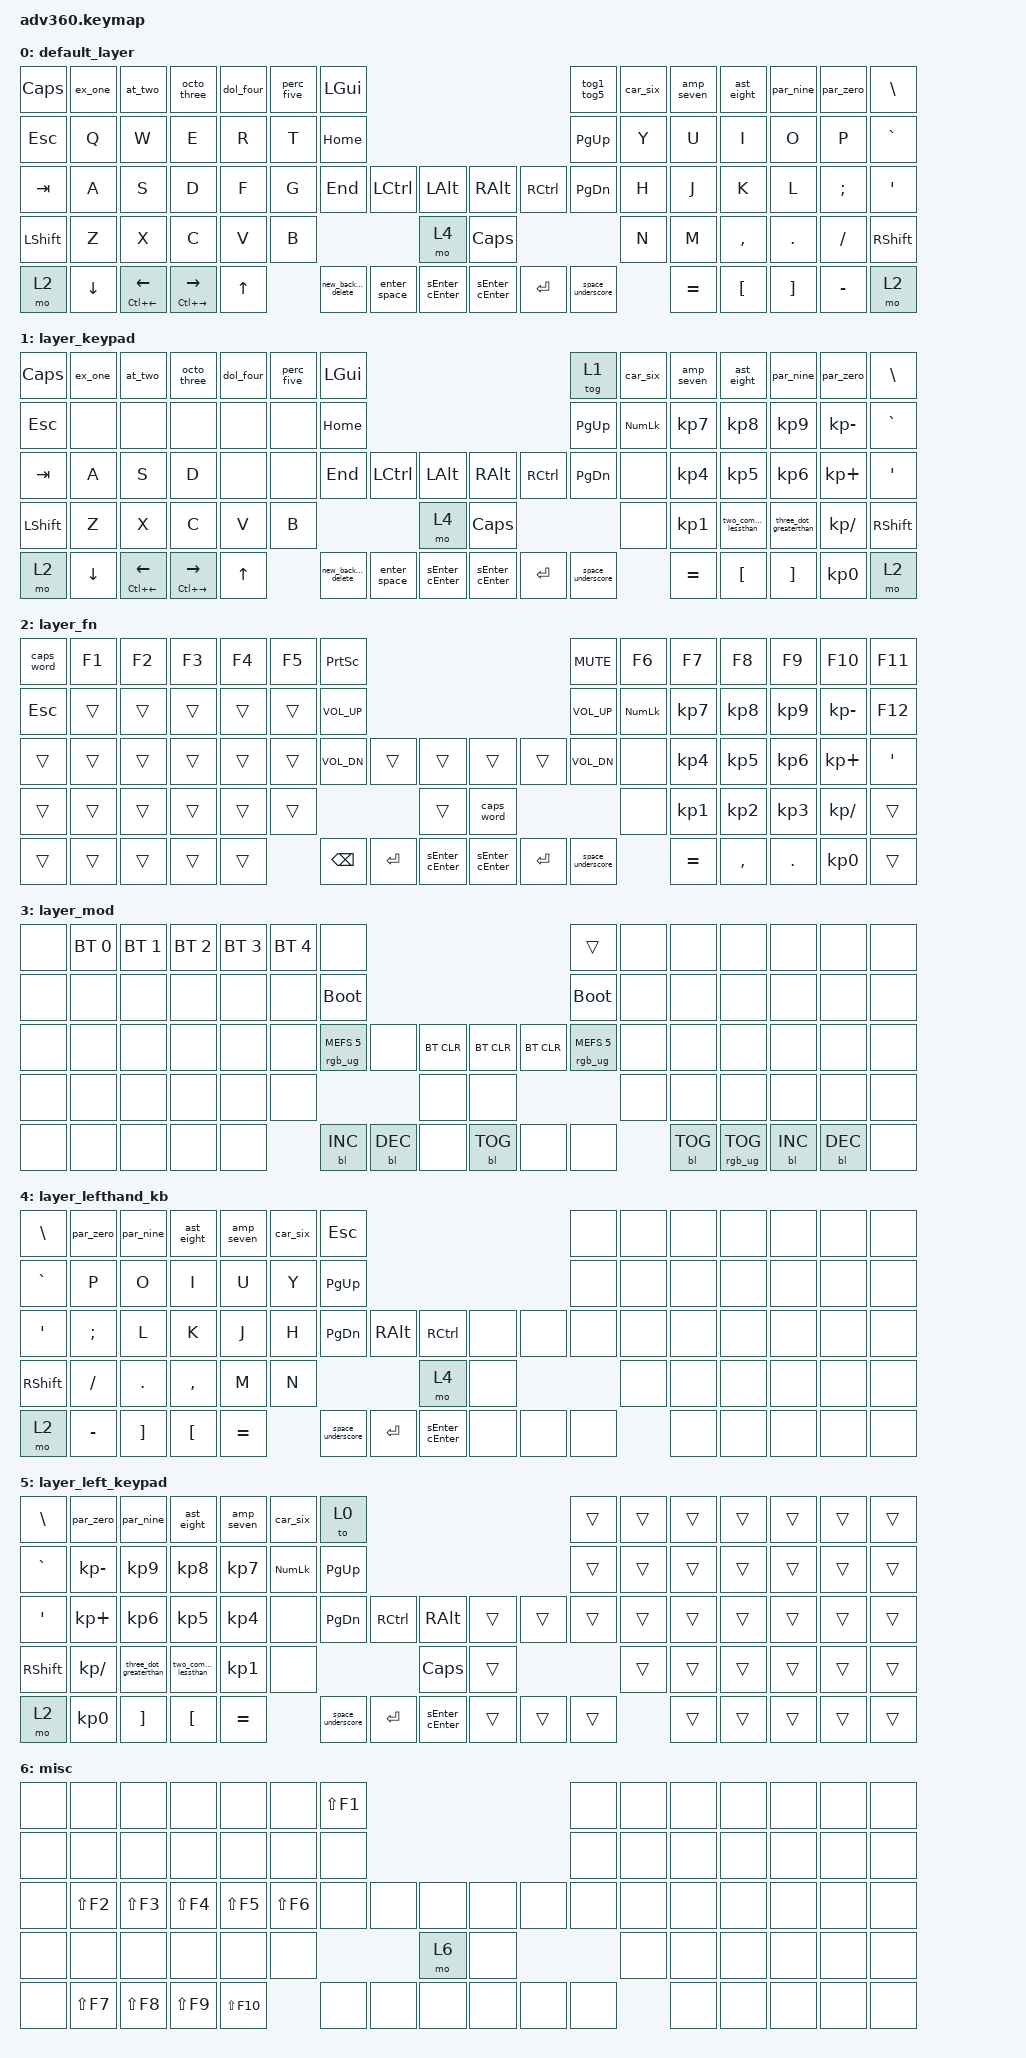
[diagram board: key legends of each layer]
/*
 * Copyright (c) 2020 The ZMK Contributors
 *
 * SPDX-License-Identifier: MIT
 */
/* THIS FILE WAS GENERATED!
 *
 * This file was generated automatically. You may or may not want to
 * edit it directly.
 */

#include <behaviors.dtsi>
#include <dt-bindings/zmk/backlight.h>
#include <dt-bindings/zmk/bt.h>
#include <dt-bindings/zmk/keys.h>
#include <dt-bindings/zmk/rgb.h>

/ {
    behaviors {
        #include "macros.dtsi"

        hm: homerow_mods {
            compatible = "zmk,behavior-hold-tap";
            label = "HOMEROW_MODS";
            #binding-cells = <2>;
            tapping-term-ms = <200>;
            quick_tap_ms = <175>;
            flavor = "tap-preferred";
            bindings = <&kp>, <&kp>;
        };
        par_nine: par_nine {
            compatible = "zmk,behavior-mod-morph";
            label = "PAR_NINE";
            bindings = <&kp LEFT_PARENTHESIS>, <&kp N9>;

            #binding-cells = <0>;
            mods = <(MOD_LSFT|MOD_RSFT)>;
        };
        ex_one: ex_one {
            compatible = "zmk,behavior-mod-morph";
            label = "EX_ONE";
            bindings = <&kp EXCLAMATION>, <&kp KP_NUMBER_1>;

            #binding-cells = <0>;
            mods = <(MOD_LSFT|MOD_RSFT)>;
        };
        at_two: at_two {
            compatible = "zmk,behavior-mod-morph";
            label = "AT_TWO";
            bindings = <&kp AT_SIGN>, <&kp KP_NUMBER_2>;

            #binding-cells = <0>;
            mods = <(MOD_LSFT|MOD_RSFT)>;
        };
        octo_three: octo_three {
            compatible = "zmk,behavior-mod-morph";
            label = "OCTO_THREE";
            bindings = <&kp HASH>, <&kp KP_NUMBER_3>;

            #binding-cells = <0>;
            mods = <(MOD_LSFT|MOD_RSFT)>;
        };
        perc_five: perc_five {
            compatible = "zmk,behavior-mod-morph";
            label = "PERC_FIVE";
            bindings = <&kp PRCNT>, <&kp KP_NUMBER_5>;

            #binding-cells = <0>;
            mods = <(MOD_LSFT|MOD_RSFT)>;
        };
        car_six: car_six {
            compatible = "zmk,behavior-mod-morph";
            label = "CAR_SIX";
            bindings = <&kp CARET>, <&kp KP_NUMBER_6>;

            #binding-cells = <0>;
            mods = <(MOD_LSFT|MOD_RSFT)>;
        };
        amp_seven: amp_seven {
            compatible = "zmk,behavior-mod-morph";
            label = "AMP_SEVEN";
            bindings = <&kp AMPS>, <&kp KP_NUMBER_7>;

            #binding-cells = <0>;
            mods = <(MOD_LSFT|MOD_RSFT)>;
        };
        ast_eight: ast_eight {
            compatible = "zmk,behavior-mod-morph";
            label = "AST_EIGHT";
            bindings = <&kp ASTERISK>, <&kp KP_NUMBER_8>;

            #binding-cells = <0>;
            mods = <(MOD_LSFT|MOD_RSFT)>;
        };
        par_zero: par_zero {
            compatible = "zmk,behavior-mod-morph";
            label = "PAR_ZERO";
            bindings = <&kp RPAR>, <&kp KP_NUMBER_0>;

            #binding-cells = <0>;
            mods = <(MOD_LSFT|MOD_RSFT)>;
        };
        dol_four: dol_four {
            compatible = "zmk,behavior-mod-morph";
            label = "DOL_FOUR";
            bindings = <&kp DLLR>, <&kp KP_NUMBER_4>;

            #binding-cells = <0>;
            mods = <(MOD_LSFT|MOD_RSFT)>;
        };
        under_minus: under_minus {
            compatible = "zmk,behavior-mod-morph";
            label = "UNDER_MINUS";
            bindings = <&kp UNDERSCORE>, <&kp MINUS>;

            #binding-cells = <0>;
            mods = <(MOD_LSFT|MOD_RSFT)>;
        };
        backspace_delete: backspace_delete {
            compatible = "zmk,behavior-mod-morph";
            label = "BACKSPACE_DELETE";
            bindings = <&kp BACKSPACE>, <&kp DELETE>;

            #binding-cells = <0>;
            mods = <(MOD_LSFT|MOD_RSFT)>;
        };
        enter_space: enter_space {
            compatible = "zmk,behavior-mod-morph";
            label = "ENTER_SPACE";
            bindings = <&kp KP_ENTER>, <&kp SPACE>;

            #binding-cells = <0>;
            mods = <(MOD_LSFT|MOD_RSFT)>;
        };
        sEnter_cEnter: sEnter_cEnter {
            compatible = "zmk,behavior-mod-morph";
            label = "SENTER_CENTER";
            bindings = <&kp LS(KP_ENTER)>, <&kp LC(KP_ENTER)>;

            #binding-cells = <0>;
            mods = <(MOD_LSFT|MOD_RSFT)>;
        };
        new_backspace_delete: new_backspace_delete {
            compatible = "zmk,behavior-mod-morph";
            label = "NEW_BACKSPACE_DELETE";
            bindings = <&hm LC(BACKSPACE) BACKSPACE>, <&hm LC(DELETE) DELETE>;

            #binding-cells = <0>;
            mods = <(MOD_LSFT|MOD_RSFT)>;
        };
        two_comma: two_comma {
            compatible = "zmk,behavior-mod-morph";
            label = "TWO_COMMA";
            bindings = <&kp KP_NUMBER_2>, <&kp COMMA>;

            #binding-cells = <0>;
            mods = <(MOD_LSFT|MOD_RSFT)>;
        };
        two_comma_lessthan: two_comma_lessthan {
            compatible = "zmk,behavior-mod-morph";
            label = "TWO_COMMA_LESSTHAN";
            bindings = <&two_comma>, <&kp LESS_THAN>;

            #binding-cells = <0>;
            mods = <(MOD_LCTL|MOD_RCTL)>;
        };
        three_dot: three_dot {
            compatible = "zmk,behavior-mod-morph";
            label = "THREE_DOT";
            bindings = <&kp KP_NUMBER_3>, <&kp DOT>;

            #binding-cells = <0>;
            mods = <(MOD_LSFT|MOD_RSFT)>;
        };
        three_dot_greaterthan: three_dot_greaterthan {
            compatible = "zmk,behavior-mod-morph";
            label = "THREE_DOT_GREATERTHAN";
            bindings = <&three_dot>, <&kp GREATER_THAN>;

            #binding-cells = <0>;
            mods = <(MOD_LCTL|MOD_RCTL)>;
        };
        zero_under: zero_under {
            compatible = "zmk,behavior-mod-morph";
            label = "ZERO_UNDER";
            bindings = <&kp KP_NUMBER_0>, <&kp UNDER>;

            #binding-cells = <0>;
            mods = <(MOD_LSFT|MOD_RSFT)>;
        };
        zero_under_minus: zero_under_minus {
            compatible = "zmk,behavior-mod-morph";
            label = "ZERO_UNDER_MINUS";
            bindings = <&zero_under>, <&kp MINUS>;

            #binding-cells = <0>;
            mods = <(MOD_LCTL|MOD_RCTL)>;
        };
        tog1_tog5: tog1_tog5 {
            compatible = "zmk,behavior-mod-morph";
            label = "TOG1_TOG5";
            bindings = <&to 1>, <&to 5>;

            #binding-cells = <0>;
            mods = <(MOD_LCTL|MOD_RCTL)>;
        };
        space_underscore: space_underscore {
            compatible = "zmk,behavior-mod-morph";
            label = "SPACE_UNDERSCORE";
            bindings = <&kp SPACE>, <&kp UNDER>;

            #binding-cells = <0>;
            mods = <(MOD_LSFT|MOD_RSFT)>;
        };
    };

    keymap {
        compatible = "zmk,keymap";

        default_layer {
            bindings = <
&kp CAPSLOCK  &ex_one         &at_two                        &octo_three                      &dol_four     &perc_five  &kp LEFT_GUI                                                                        &tog1_tog5         &car_six  &amp_seven  &ast_eight  &par_nine  &par_zero  &kp BACKSLASH
&kp ESCAPE    &kp Q           &kp W                          &kp E                            &kp R         &kp T       &kp HOME                                                                            &kp PAGE_UP        &kp Y     &kp U       &kp I       &kp O      &kp P      &kp GRAVE
&kp TAB       &kp A           &kp S                          &kp D                            &kp F         &kp G       &kp END                &kp LCTRL     &kp LALT            &kp RALT        &kp RCTRL  &kp PAGE_DOWN      &kp H     &kp J       &kp K       &kp L      &kp SEMI   &kp SQT
&kp LSHFT     &kp Z           &kp X                          &kp C                            &kp V         &kp B                                            &mo 4               &kp CAPSLOCK                                  &kp N     &kp M       &kp COMMA   &kp DOT    &kp FSLH   &kp RSHFT
&mo 2         &kp DOWN_ARROW  &hm LC(LEFT_ARROW) LEFT_ARROW  &hm LC(RIGHT_ARROW) RIGHT_ARROW  &kp UP_ARROW              &new_backspace_delete  &enter_space  &sEnter_cEnter      &sEnter_cEnter  &kp ENTER  &space_underscore            &kp EQUAL   &kp LBKT    &kp RBKT   &kp MINUS  &mo 2
            >;
        };

        layer_keypad {
            bindings = <
&kp CAPSLOCK  &ex_one         &at_two                        &octo_three                      &dol_four     &perc_five  &kp LEFT_GUI                                                                        &tog 1             &car_six    &amp_seven  &ast_eight           &par_nine               &par_zero        &kp BSLH
&kp ESCAPE    &none           &none                          &none                            &none         &none       &kp HOME                                                                            &kp PAGE_UP        &kp KP_NUM  &kp KP_N7   &kp KP_N8            &kp KP_N9               &kp KP_MINUS     &kp GRAVE
&kp TAB       &kp A           &kp S                          &kp D                            &none         &none       &kp END                &kp LCTRL     &kp LEFT_ALT        &kp RIGHT_ALT   &kp RCTRL  &kp PAGE_DOWN      &none       &kp KP_N4   &kp KP_N5            &kp KP_N6               &kp KP_PLUS      &kp SQT
&kp LSHFT     &kp Z           &kp X                          &kp C                            &kp V         &kp B                                            &mo 4               &kp CAPSLOCK                                  &none       &kp KP_N1   &two_comma_lessthan  &three_dot_greaterthan  &kp KP_SLASH     &kp RSHFT
&mo 2         &kp DOWN_ARROW  &hm LC(LEFT_ARROW) LEFT_ARROW  &hm LC(RIGHT_ARROW) RIGHT_ARROW  &kp UP_ARROW              &new_backspace_delete  &enter_space  &sEnter_cEnter      &sEnter_cEnter  &kp ENTER  &space_underscore              &kp EQUAL   &kp LEFT_BRACKET     &kp RIGHT_BRACKET       &kp KP_NUMBER_0  &mo 2
            >;
        };

        layer_fn {
            bindings = <
&caps_word  &kp F1  &kp F2  &kp F3  &kp F4  &kp F5  &kp PRINTSCREEN                                                            &kp C_MUTE         &kp F6      &kp F7     &kp F8     &kp F9     &kp F10       &kp F11
&kp ESCAPE  &trans  &trans  &trans  &trans  &trans  &kp C_VOL_UP                                                               &kp C_VOL_UP       &kp KP_NUM  &kp KP_N7  &kp KP_N8  &kp KP_N9  &kp KP_MINUS  &kp F12
&trans      &trans  &trans  &trans  &trans  &trans  &kp C_VOL_DN     &trans     &trans              &trans          &trans     &kp C_VOL_DN       &none       &kp KP_N4  &kp KP_N5  &kp KP_N6  &kp KP_PLUS   &kp SINGLE_QUOTE
&trans      &trans  &trans  &trans  &trans  &trans                              &trans              &caps_word                                    &none       &kp KP_N1  &kp KP_N2  &kp KP_N3  &kp KP_SLASH  &trans
&trans      &trans  &trans  &trans  &trans          &kp BACKSPACE    &kp ENTER  &sEnter_cEnter      &sEnter_cEnter  &kp ENTER  &space_underscore              &kp EQUAL  &kp COMMA  &kp DOT    &kp KP_N0     &trans
            >;
        };

        layer_mod {
            bindings = <
&none  &bt BT_SEL 0  &bt BT_SEL 1  &bt BT_SEL 2  &bt BT_SEL 3  &bt BT_SEL 4  &none                                                                       &trans                  &none  &none       &none            &none       &none       &none
&none  &none         &none         &none         &none         &none         &bootloader                                                                 &bootloader             &none  &none       &none            &none       &none       &none
&none  &none         &none         &none         &none         &none         &rgb_ug RGB_MEFS_CMD 5  &none       &bt BT_CLR      &bt BT_CLR  &bt BT_CLR  &rgb_ug RGB_MEFS_CMD 5  &none  &none       &none            &none       &none       &none
&none  &none         &none         &none         &none         &none                                             &none           &none                                           &none  &none       &none            &none       &none       &none
&none  &none         &none         &none         &none                       &bl BL_INC              &bl BL_DEC  &none           &bl BL_TOG  &none       &none                          &bl BL_TOG  &rgb_ug RGB_TOG  &bl BL_INC  &bl BL_DEC  &none
            >;
        };

        layer_lefthand_kb {
            bindings = <
&kp BACKSLASH     &par_zero  &par_nine          &ast_eight        &amp_seven  &car_six  &kp ESC                                                            &none  &none  &none  &none  &none  &none  &none
&kp GRAVE         &kp P      &kp O              &kp I             &kp U       &kp Y     &kp PAGE_UP                                                        &none  &none  &none  &none  &none  &none  &none
&kp SINGLE_QUOTE  &kp SEMI   &kp L              &kp K             &kp J       &kp H     &kp PAGE_DOWN      &kp RALT   &kp RIGHT_CONTROL      &none  &none  &none  &none  &none  &none  &none  &none  &none
&kp RIGHT_SHIFT   &kp SLASH  &kp DOT            &kp COMMA         &kp M       &kp N                                   &mo 4                  &none                &none  &none  &none  &none  &none  &none
&mo 2             &kp MINUS  &kp RIGHT_BRACKET  &kp LEFT_BRACKET  &kp EQUAL             &space_underscore  &kp ENTER  &sEnter_cEnter         &none  &none  &none         &none  &none  &none  &none  &none
            >;
        };

        layer_left_keypad {
            bindings = <
&kp BACKSLASH     &par_zero        &par_nine               &ast_eight           &amp_seven       &car_six    &to 0                                                                     &trans  &trans  &trans  &trans  &trans  &trans  &trans
&kp GRAVE         &kp KP_MINUS     &kp KP_NUMBER_9         &kp KP_NUMBER_8      &kp KP_NUMBER_7  &kp KP_NUM  &kp PAGE_UP                                                               &trans  &trans  &trans  &trans  &trans  &trans  &trans
&kp SINGLE_QUOTE  &kp KP_PLUS      &kp KP_NUMBER_6         &kp KP_NUMBER_5      &kp KP_NUMBER_4  &none       &kp PAGE_DOWN      &kp RIGHT_CONTROL  &kp RALT            &trans  &trans  &trans  &trans  &trans  &trans  &trans  &trans  &trans
&kp RIGHT_SHIFT   &kp KP_SLASH     &three_dot_greaterthan  &two_comma_lessthan  &kp KP_NUMBER_1  &none                                             &kp CAPSLOCK        &trans                  &trans  &trans  &trans  &trans  &trans  &trans
&mo 2             &kp KP_NUMBER_0  &kp RIGHT_BRACKET       &kp LEFT_BRACKET     &kp EQUAL                    &space_underscore  &kp ENTER          &sEnter_cEnter      &trans  &trans  &trans          &trans  &trans  &trans  &trans  &trans
            >;
        };

        misc_hotkeys {
            bindings = <
&none  &none       &none       &none       &none        &none       &kp LS(F1)                                  &none  &none  &none  &none  &none  &none  &none
&none  &none       &none       &none       &none        &none       &none                                       &none  &none  &none  &none  &none  &none  &none
&none  &kp LS(F2)  &kp LS(F3)  &kp LS(F4)  &kp LS(F5)   &kp LS(F6)  &none       &none  &none      &none  &none  &none  &none  &none  &none  &none  &none  &none
&none  &none       &none       &none       &none        &none                          &mo 6      &none                &none  &none  &none  &none  &none  &none
&none  &kp LS(F7)  &kp LS(F8)  &kp LS(F9)  &kp LS(F10)              &none       &none  &none      &none  &none  &none         &none  &none  &none  &none  &none
            >;

            label = "misc";
        };
    };
};
